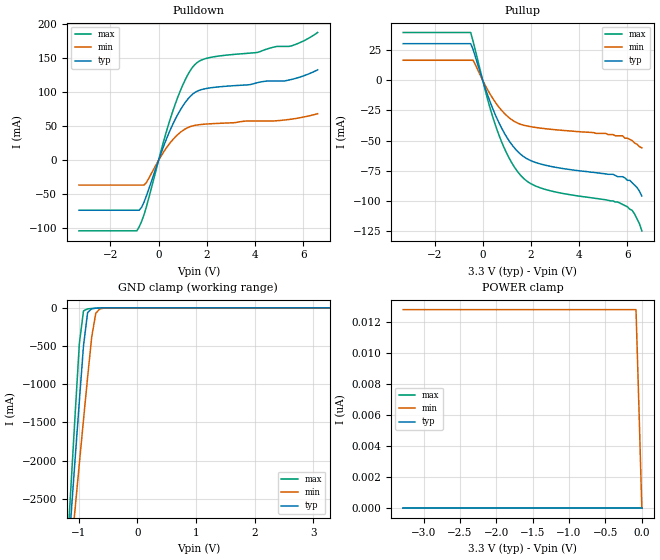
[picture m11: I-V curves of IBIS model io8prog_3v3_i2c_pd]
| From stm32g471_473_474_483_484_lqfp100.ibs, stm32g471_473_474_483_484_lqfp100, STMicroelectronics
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|   Model io8prog_3v3_i2c_pd
[Model]  io8prog_3v3_i2c_pd
Model_type I/O
Polarity   Non-Inverting
Enable   Active-Low
Vinl =   0.540000V
Vinh =   1.260000V
Vmeas =  0.900000V
Cref =   100.000000nF
Rref =   1.000000k
Vref =   1.800000V
C_comp   2.266800pF   2.233100pF   2.322300pF
[Temperature Range]   25.000000   0.125000k   -40.000000
[Pullup Reference]   3.300000V   2.700000V   3.600000V
[Pulldown Reference]   0.0V   0.0V   0.0V
[POWER Clamp Reference]   3.300000V   2.700000V   3.600000V
[GND Clamp Reference]   0.0V   0.0V   0.0V
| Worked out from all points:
|   slope of the pulldown table from 0 to 0.495 V, typ, clamps not added: 10.9 ohm
|   slope of the pullup table from 0 to 0.495 V, typ, clamps not added: 18.1 ohm
|   GND clamp passes 1 mA (typ) near -0.58 V on its own axis
[Pulldown]
|Voltage   I(typ)   I(min)   I(max)
-3.3V     -73.21mA   -36.24mA   -103.5mA
-900mV    -73.21mA   -36.24mA   -103.5mA
-700mV    -68.71mA   -36.24mA   -89.31mA
-500mV    -51.77mA   -32.35mA   -67.62mA
200mV     19.89mA    11.8mA     26.78mA
700mV     60.97mA    34.63mA    83.5mA
1.2V      89.46mA    47.98mA    125mA
1.6V      101.6mA    52.06mA    143.8mA
2.3V      107.3mA    54.12mA    152.3mA
4.1V      114.2mA    57.92mA    158.7mA
5.5V      118.8mA    60.6mA     168.1mA
6.6V      133.1mA    68.66mA    187.9mA
[Pullup]
|Voltage   I(typ)   I(min)   I(max)
-3.3V     30.51mA    16.73mA    39.79mA
-500mV    30.51mA    16.73mA    39.79mA
-400mV    25.73mA    16.73mA    32.44mA
200mV     -11.99mA   -7.69mA    -15.6mA
500mV     -27.53mA   -17.49mA   -35.6mA
1V        -47.29mA   -29.38mA   -60.81mA
1.5V      -60.05mA   -35.95mA   -77.15mA
1.9V      -65.77mA   -38.13mA   -84.64mA
2.6V      -70.47mA   -40.14mA   -90.6mA
5.6V      -80mA      -46mA      -101mA
6.2V      -85mA      -50mA      -108mA
6.6V      -96mA      -56mA      -125mA
[GND_clamp]
|Voltage   I(typ)   I(min)   I(max)
-3.3V     -9.456A    -9.706A    -9.779A
-1.2V     -3.441A    -3.76A     -3.218A
-1.13V    -2.694A    -3.182A    -2.288A
-1.06V    -1.951A    -2.607A    -1.365A
-990mV    -1.216A    -2.035A    -464.9mA
-920mV    -500mA     -1.468A    -40.16mA
-850mV    -63.52mA   -913mA     -13.8mA
-780mV    -11.85mA   -384.3mA   -8.868mA
-710mV    -4.793mA   -70.28mA   -5.239mA
-640mV    -2.262mA   -14.31mA   -2.457mA
-430mV    -37.93uA   -161.8uA   -20.28uA
3.28V     87.11uA    89uA       71.58uA
[POWER_clamp]
|Voltage   I(typ)   I(min)   I(max)
-3.28V    0A         12.77nA    0A
-80mV     0A         12.77nA    0A
-40mV     0A         6.549nA    0A
0V        0A         0A         0A
[Ramp]
| variable   typ   min   max
dV/dt_r  1.39404/6.00000u   0.94416/6.00000u   1.64262/6.00000u
dV/dt_f  1.61784/6.00000u   1.14008/6.00000u   1.86223/6.00000u
R_load = 50.000000
|End [Model] io8prog_3v3_i2c_pd
